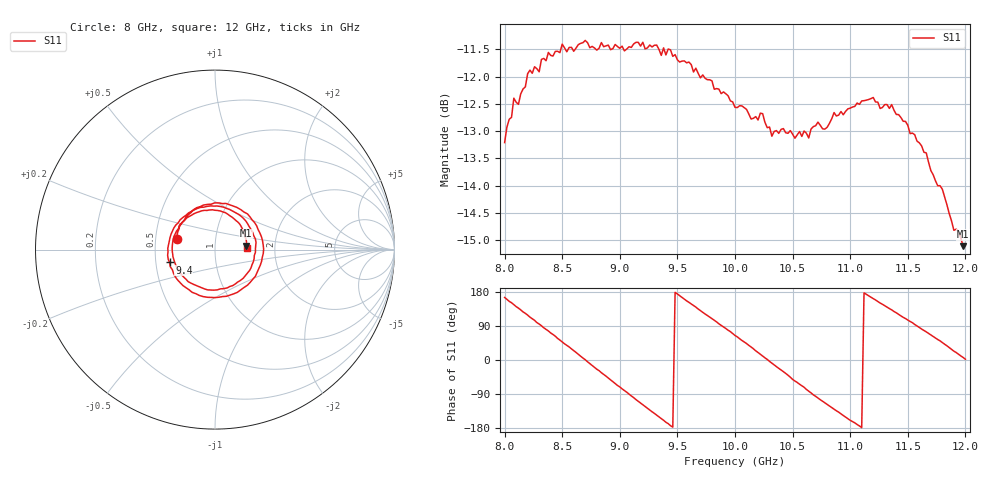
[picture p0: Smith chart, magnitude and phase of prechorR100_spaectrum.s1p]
#  HZ  S  DB  R  50.00
! Rohde & Schwarz ZVA67 4Ports - Version 3.60 - 1305.7002k04 SN: 101051
! Date: 2012-04-10 10:07:09
! Measurement: S44
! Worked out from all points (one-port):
!   201 points, 8 GHz to 12 GHz, reference 50 ohm
!   lowest |S11| = -15.1 dB at 11.98 GHz (marker M1), VSWR 1.43, Z = 71 + j3.09 ohm
!   |S11| at or under -10 dB: start of sweep to end of sweep
!   S11 on the Smith chart (normalised r, x): 8 GHz: 0.65, +0.08; 9.4 GHz: 0.59, -0.09; 12 GHz: 1.43, +0.02
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8e9  -13.21 165.0
8.08e9  -12.40 146.2
8.26e9  -11.82 104.7
8.38e9  -11.56 76.6
8.5e9  -11.41 47.7
8.72e9  -11.38 -4.7
8.84e9  -11.38 -33.5
9e9  -11.48 -71.0
9.2e9  -11.37 -118.2
9.4e9  -11.60 -164.3
9.5e9  -11.69 174.2
9.62e9  -11.78 147.9
9.76e9  -12.06 117.6
9.9e9  -12.28 87.2
1e10  -12.56 64.7
1.024e10  -12.68 10.2
1.04e10  -12.97 -26.4
1.05e10  -13.05 -51.2
1.072e10  -12.84 -100.4
1.086e10  -12.66 -129.9
1.1e10  -12.58 -159.1
1.12e10  -12.38 162.1
1.136e10  -12.51 132.3
1.15e10  -12.89 105.4
1.166e10  -13.40 74.3
1.182e10  -14.21 41.8
1.198e10  -15.11 6.9
1.2e10  -15.10 2.0
